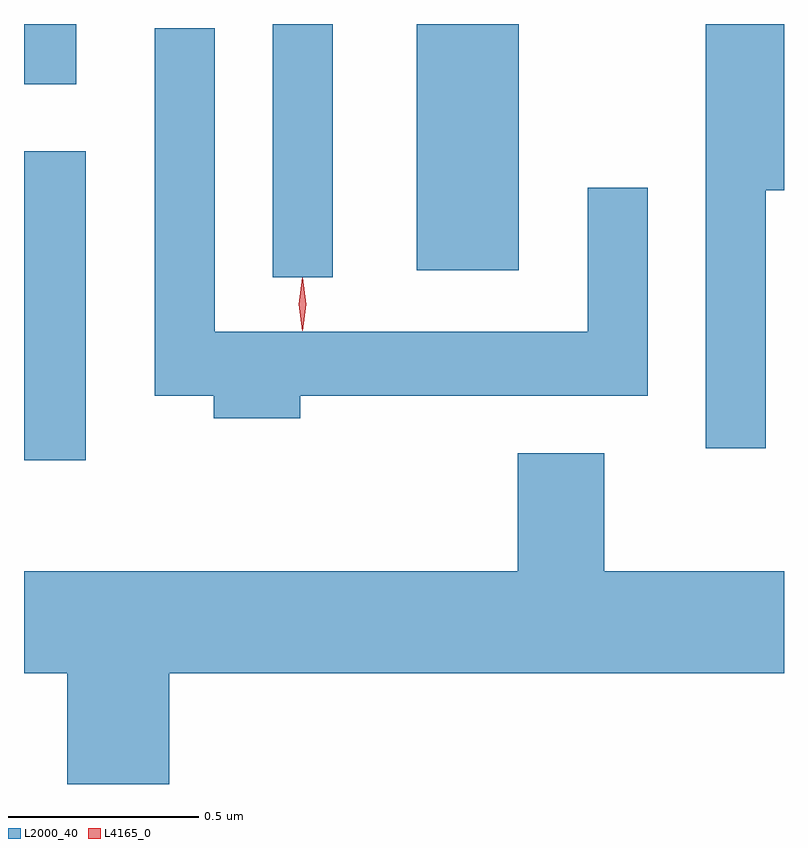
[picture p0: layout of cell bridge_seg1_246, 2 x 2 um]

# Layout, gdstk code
import gdstk
lib = gdstk.Library(unit=1e-6, precision=1e-09)
def R(c, l, rs):  # rectangles x0, y0, x1, y1
    for r in rs: c.add(gdstk.rectangle(r[:2], r[2:], *l))
def P(c, l, *ps):  # polygons
    for p in ps: c.add(gdstk.Polygon(p, *l))
L2000_40 = (2000, 40)
L4165_0 = (4165, 0)

bridge_seg1_246 = lib.new_cell('bridge_seg1_246')
R(bridge_seg1_246, L2000_40, [(834.342,882.376,834.504,883.189), (834.996,882.858,835.154,883.524), (835.376,882.876,835.644,883.524), (834.342,883.366,834.479,883.524)])
P(bridge_seg1_246, L2000_40, [(836.294,883.086),(836.342,883.086),(836.342,883.524),(836.136,883.524),(836.136,882.408),(836.294,882.408)],
  [(835.069,882.546),(835.984,882.546),(835.984,883.093),(835.826,883.093),(835.826,882.714),(834.844,882.714),(834.844,883.513),(834.686,883.513),(834.686,882.546),(834.841,882.546),(834.841,882.486),(835.069,882.486)],
  [(834.724,881.816),(836.342,881.816),(836.342,882.084),(835.869,882.084),(835.869,882.394),(835.641,882.394),(835.641,882.084),(834.342,882.084),(834.342,881.816),(834.456,881.816),(834.456,881.524),(834.724,881.524)])
P(bridge_seg1_246, L4165_0, [(835.075,882.719),(835.075,882.72),(835.065,882.786),(835.074,882.852),(835.075,882.853),(835.075,882.852),(835.085,882.786),(835.076,882.72)],
  [(835.074,882.717),(835.065,882.787),(835.074,882.856),(835.075,882.856),(835.075,882.856),(835.085,882.787),(835.075,882.717),(835.075,882.717)])

lib.write_gds('bridge_seg1_246.gds')
